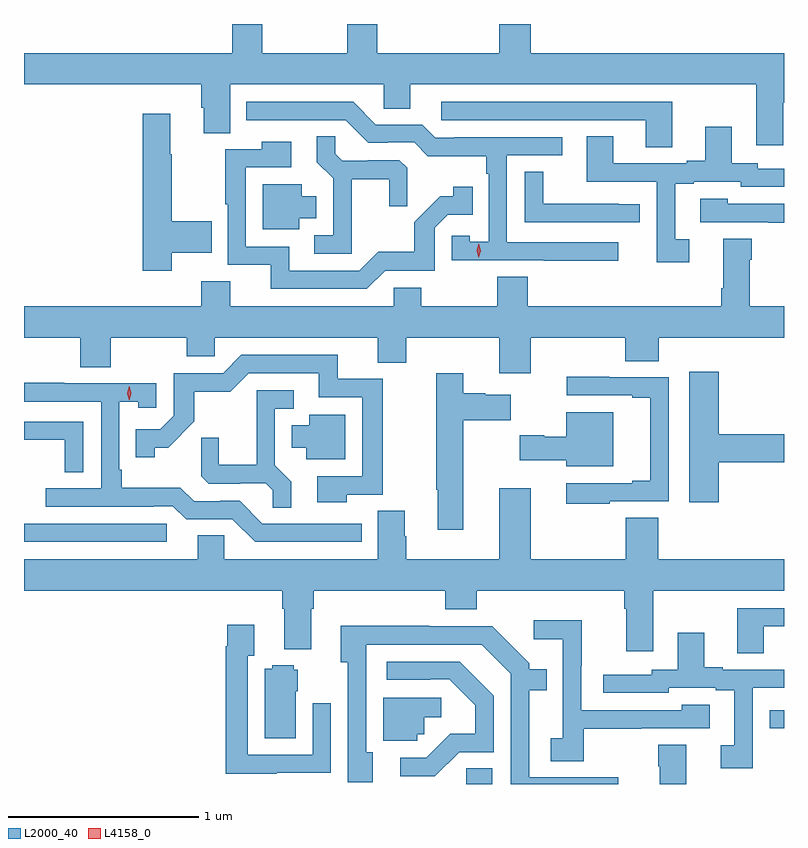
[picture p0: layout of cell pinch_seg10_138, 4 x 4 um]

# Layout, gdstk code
import gdstk
lib = gdstk.Library(unit=1e-6, precision=1e-09)
def R(c, l, rs):  # rectangles x0, y0, x1, y1
    for r in rs: c.add(gdstk.rectangle(r[:2], r[2:], *l))
def P(c, l, *ps):  # polygons
    for p in ps: c.add(gdstk.Polygon(p, *l))
L2000_40 = (2000, 40)
L4158_0 = (4158, 0)

pinch_seg10_138 = lib.new_cell('pinch_seg10_138')
R(pinch_seg10_138, L2000_40, [(692.305,1272.658,692.443,1272.74), (693.903,1272.951,693.978,1273.046), (689.978,1273.932,690.73,1274.028)])
P(pinch_seg10_138, L2000_40, [(693.973,1276.244),(693.978,1276.244),(693.978,1276.504),(692.644,1276.504),(692.644,1276.658),(692.48,1276.658),(692.48,1276.504),(691.838,1276.504),(691.838,1276.658),(691.678,1276.658),(691.678,1276.504),(691.233,1276.504),(691.233,1276.658),(691.073,1276.658),(691.073,1276.504),(689.978,1276.504),(689.978,1276.34),(690.911,1276.34),(690.911,1276.218),(690.923,1276.218),(690.923,1276.084),(691.063,1276.084),(691.063,1276.34),(691.872,1276.34),(691.872,1276.213),(692.011,1276.213),(692.011,1276.34),(693.833,1276.34),(693.833,1276.02),(693.973,1276.02)],
  [(693.391,1276.248),(692.175,1276.248),(692.175,1276.152),(693.251,1276.152),(693.251,1276.009),(693.391,1276.009)],
  [(693.106,1275.51),(692.52,1275.51),(692.52,1275.966),(692.812,1275.966),(692.812,1276.062),(692.242,1276.062),(692.242,1276.059),(692.142,1276.059),(692.073,1276.128),(691.83,1276.128),(691.71,1276.248),(691.148,1276.248),(691.148,1276.152),(691.671,1276.152),(691.791,1276.032),(691.892,1276.032),(691.892,1276.035),(692.031,1276.035),(692.104,1275.962),(692.412,1275.962),(692.412,1275.869),(692.424,1275.869),(692.424,1275.511),(692.325,1275.511),(692.325,1275.543),(692.229,1275.543),(692.229,1275.414),(692.713,1275.414),(692.713,1275.412),(693.106,1275.412)],
  [(690.756,1275.455),(690.965,1275.455),(690.965,1275.621),(690.756,1275.621),(690.756,1275.973),(690.748,1275.973),(690.748,1276.186),(690.602,1276.186),(690.602,1275.36),(690.756,1275.36)],
  [(693.478,1275.525),(693.406,1275.525),(693.406,1275.816),(693.502,1275.816),(693.502,1275.828),(693.75,1275.828),(693.75,1275.801),(693.978,1275.801),(693.978,1275.897),(693.84,1275.897),(693.84,1275.924),(693.703,1275.924),(693.703,1276.117),(693.563,1276.117),(693.563,1275.937),(693.467,1275.937),(693.467,1275.924),(693.079,1275.924),(693.079,1276.067),(692.939,1276.067),(692.939,1275.828),(693.309,1275.828),(693.309,1275.405),(693.478,1275.405)],
  [(691.703,1275.842),(691.9,1275.842),(691.9,1275.699),(691.994,1275.699),(691.994,1275.901),(691.953,1275.942),(691.788,1275.942),(691.788,1275.939),(691.654,1275.939),(691.617,1275.976),(691.617,1276.067),(691.519,1276.067),(691.519,1275.931),(691.605,1275.845),(691.605,1275.546),(691.506,1275.546),(691.506,1275.45),(691.703,1275.45)],
  [(691.878,1275.36),(692.139,1275.36),(692.139,1275.585),(692.208,1275.654),(692.339,1275.654),(692.339,1275.802),(692.238,1275.802),(692.238,1275.752),(692.168,1275.752),(692.031,1275.614),(692.031,1275.459),(691.842,1275.459),(691.743,1275.36),(691.375,1275.36),(691.375,1275.486),(691.146,1275.486),(691.146,1275.903),(691.384,1275.903),(691.384,1276.039),(691.228,1276.039),(691.228,1275.999),(691.038,1275.999),(691.038,1275.709),(691.05,1275.709),(691.05,1275.39),(691.277,1275.39),(691.277,1275.264),(691.782,1275.264)],
  [(693.22,1275.71),(693.107,1275.71),(693.107,1275.711),(692.712,1275.711),(692.712,1275.881),(692.613,1275.881),(692.613,1275.615),(693.22,1275.615)],
  [(691.426,1275.635),(691.516,1275.635),(691.516,1275.751),(691.441,1275.751),(691.441,1275.814),(691.235,1275.814),(691.235,1275.578),(691.426,1275.578)],
  [(693.978,1275.711),(693.681,1275.711),(693.681,1275.739),(693.537,1275.739),(693.537,1275.615),(693.895,1275.615),(693.895,1275.613),(693.978,1275.613)],
  [(692.644,1275.008),(693.143,1275.008),(693.143,1274.884),(693.32,1274.884),(693.32,1275.008),(693.978,1275.008),(693.978,1275.172),(693.799,1275.172),(693.799,1275.416),(693.807,1275.416),(693.807,1275.529),(693.659,1275.529),(693.659,1275.268),(693.647,1275.268),(693.647,1275.172),(692.63,1275.172),(692.63,1275.329),(692.47,1275.329),(692.47,1275.172),(692.07,1275.172),(692.07,1275.27),(691.923,1275.27),(691.923,1275.172),(691.063,1275.172),(691.063,1275.305),(690.911,1275.305),(690.911,1275.172),(689.978,1275.172),(689.978,1275.008),(690.275,1275.008),(690.275,1274.851),(690.435,1274.851),(690.435,1275.008),(690.835,1275.008),(690.835,1274.91),(690.981,1274.91),(690.981,1275.008),(691.841,1275.008),(691.841,1274.875),(691.989,1274.875),(691.989,1275.008),(692.48,1275.008),(692.48,1274.82),(692.644,1274.82)],
  [(691.677,1274.181),(691.867,1274.181),(691.867,1274.79),(691.628,1274.79),(691.628,1274.916),(691.122,1274.916),(691.026,1274.82),(690.765,1274.82),(690.765,1274.595),(690.696,1274.526),(690.565,1274.526),(690.565,1274.379),(690.666,1274.379),(690.666,1274.429),(690.736,1274.429),(690.874,1274.566),(690.874,1274.722),(691.063,1274.722),(691.161,1274.82),(691.529,1274.82),(691.529,1274.694),(691.758,1274.694),(691.758,1274.277),(691.521,1274.277),(691.521,1274.141),(691.677,1274.141)],
  [(693.635,1274.351),(693.978,1274.351),(693.978,1274.498),(693.635,1274.498),(693.635,1274.827),(693.479,1274.827),(693.479,1274.142),(693.635,1274.142)],
  [(692.29,1274.573),(692.539,1274.573),(692.539,1274.707),(692.406,1274.707),(692.406,1274.715),(692.29,1274.715),(692.29,1274.821),(692.149,1274.821),(692.149,1274.207),(692.156,1274.207),(692.156,1273.995),(692.29,1273.995)],
  [(693.062,1274.145),(693.372,1274.145),(693.372,1274.799),(693.059,1274.799),(693.059,1274.801),(692.835,1274.801),(692.835,1274.703),(693.179,1274.703),(693.179,1274.691),(693.275,1274.691),(693.275,1274.254),(693.179,1274.254),(693.179,1274.241),(692.832,1274.241),(692.832,1274.133),(693.062,1274.133)],
  [(691.756,1274.028),(691.233,1274.028),(691.113,1274.148),(691.012,1274.148),(691.012,1274.145),(690.873,1274.145),(690.8,1274.218),(690.493,1274.218),(690.493,1274.311),(690.48,1274.311),(690.48,1274.669),(690.579,1274.669),(690.579,1274.637),(690.675,1274.637),(690.675,1274.766),(690.191,1274.766),(690.191,1274.769),(689.978,1274.769),(689.978,1274.67),(690.384,1274.67),(690.384,1274.214),(690.093,1274.214),(690.093,1274.118),(690.662,1274.118),(690.662,1274.121),(690.762,1274.121),(690.831,1274.052),(691.074,1274.052),(691.194,1273.932),(691.756,1273.932)],
  [(691.385,1274.249),(691.299,1274.335),(691.299,1274.634),(691.399,1274.634),(691.399,1274.73),(691.202,1274.73),(691.202,1274.338),(691.004,1274.338),(691.004,1274.481),(690.91,1274.481),(690.91,1274.279),(690.951,1274.238),(691.116,1274.238),(691.116,1274.241),(691.25,1274.241),(691.287,1274.204),(691.287,1274.113),(691.385,1274.113)],
  [(693.079,1274.614),(692.831,1274.614),(692.831,1274.485),(692.717,1274.485),(692.717,1274.493),(692.586,1274.493),(692.586,1274.363),(692.831,1274.363),(692.831,1274.33),(693.079,1274.33)],
  [(691.669,1274.602),(691.478,1274.602),(691.478,1274.545),(691.388,1274.545),(691.388,1274.429),(691.463,1274.429),(691.463,1274.366),(691.669,1274.366)],
  [(690.291,1274.565),(689.978,1274.565),(689.978,1274.469),(690.193,1274.469),(690.193,1274.299),(690.291,1274.299)],
  [(693.289,1273.676),(693.978,1273.676),(693.978,1273.84),(693.317,1273.84),(693.317,1274.06),(693.146,1274.06),(693.146,1273.84),(692.644,1273.84),(692.644,1274.215),(692.48,1274.215),(692.48,1273.84),(691.989,1273.84),(691.989,1273.962),(691.981,1273.962),(691.981,1274.096),(691.841,1274.096),(691.841,1273.84),(691.032,1273.84),(691.032,1273.967),(690.893,1273.967),(690.893,1273.84),(689.978,1273.84),(689.978,1273.676),(691.337,1273.676),(691.337,1273.58),(691.349,1273.58),(691.349,1273.367),(691.489,1273.367),(691.489,1273.58),(691.502,1273.58),(691.502,1273.676),(692.195,1273.676),(692.195,1273.577),(692.36,1273.577),(692.36,1273.676),(693.137,1273.676),(693.137,1273.58),(693.149,1273.58),(693.149,1273.356),(693.289,1273.356)],
  [(693.871,1273.488),(693.978,1273.488),(693.978,1273.584),(693.731,1273.584),(693.731,1273.345),(693.871,1273.345)],
  [(692.923,1272.949),(693.227,1272.949),(693.227,1272.951),(693.586,1272.951),(693.586,1273.075),(693.441,1273.075),(693.441,1273.047),(692.91,1273.047),(692.91,1273.28),(692.913,1273.28),(692.913,1273.519),(692.661,1273.519),(692.661,1273.421),(692.814,1273.421),(692.814,1272.9),(692.751,1272.9),(692.751,1272.778),(692.923,1272.778)],
  [(691.309,1272.717),(691.593,1272.717),(691.593,1273.084),(691.497,1273.084),(691.497,1272.813),(691.155,1272.813),(691.155,1273.334),(691.189,1273.334),(691.189,1273.495),(691.047,1273.495),(691.047,1273.382),(691.039,1273.382),(691.039,1272.713),(691.309,1272.713)],
  [(693.106,1272.693),(692.638,1272.693),(692.638,1273.152),(692.729,1273.152),(692.729,1273.261),(692.637,1273.261),(692.637,1273.293),(692.442,1273.488),(692.111,1273.488),(692.111,1273.49),(691.646,1273.49),(691.646,1273.298),(691.683,1273.298),(691.683,1272.666),(691.813,1272.666),(691.813,1272.826),(691.779,1272.826),(691.779,1273.392),(692.388,1273.392),(692.541,1273.239),(692.541,1272.658),(693.106,1272.658)],
  [(693.813,1273.164),(693.978,1273.164),(693.978,1273.26),(693.655,1273.26),(693.655,1273.273),(693.559,1273.273),(693.559,1273.453),(693.419,1273.453),(693.419,1273.26),(693.282,1273.26),(693.282,1273.233),(693.027,1273.233),(693.027,1273.137),(693.372,1273.137),(693.372,1273.164),(693.62,1273.164),(693.62,1273.152),(693.716,1273.152),(693.716,1272.861),(693.645,1272.861),(693.645,1272.741),(693.813,1272.741)],
  [(692.268,1272.825),(692.451,1272.825),(692.451,1273.123),(692.272,1273.302),(691.887,1273.302),(691.887,1273.206),(692.117,1273.206),(692.117,1273.209),(692.217,1273.209),(692.354,1273.072),(692.354,1272.922),(692.221,1272.922),(692.094,1272.795),(691.959,1272.795),(691.959,1272.698),(692.14,1272.698)],
  [(691.408,1273.146),(691.42,1273.146),(691.42,1273.26),(691.398,1273.26),(691.398,1273.282),(691.284,1273.282),(691.284,1273.264),(691.244,1273.264),(691.244,1272.898),(691.408,1272.898)],
  [(692.049,1272.921),(692.085,1272.921),(692.085,1273.01),(692.173,1273.01),(692.173,1273.113),(691.868,1273.113),(691.868,1272.885),(692.049,1272.885)],
  [(693.463,1272.865),(693.316,1272.865),(693.316,1272.752),(693.323,1272.752),(693.323,1272.658),(693.463,1272.658)])
P(pinch_seg10_138, L4158_0, [(692.371,1275.429),(692.371,1275.43),(692.362,1275.465),(692.372,1275.501),(692.372,1275.501),(692.372,1275.501),(692.382,1275.465),(692.372,1275.43)],
  [(690.532,1274.678),(690.531,1274.679),(690.522,1274.715),(690.531,1274.751),(690.532,1274.751),(690.532,1274.751),(690.542,1274.715),(690.532,1274.679)])

lib.write_gds('pinch_seg10_138.gds')
